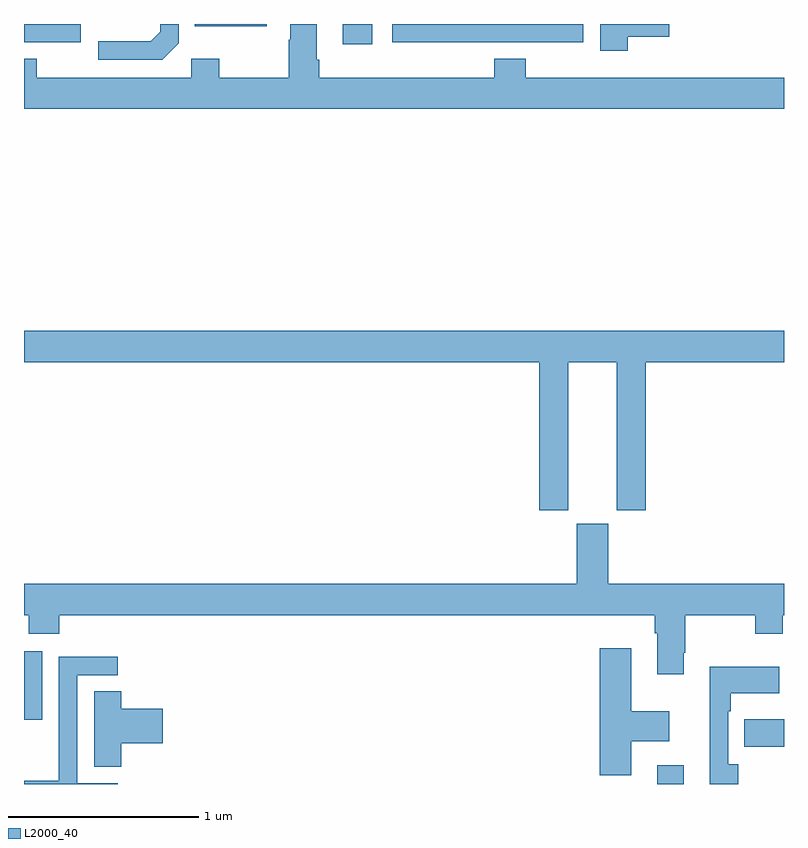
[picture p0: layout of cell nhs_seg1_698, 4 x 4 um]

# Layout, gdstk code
import gdstk
lib = gdstk.Library(unit=1e-6, precision=1e-09)
def R(c, l, rs):  # rectangles x0, y0, x1, y1
    for r in rs: c.add(gdstk.rectangle(r[:2], r[2:], *l))
def P(c, l, *ps):  # polygons
    for p in ps: c.add(gdstk.Polygon(p, *l))
L2000_40 = (2000, 40)

nhs_seg1_698 = lib.new_cell('nhs_seg1_698')
R(nhs_seg1_698, L2000_40, [(152.333,528.199,152.473,528.298), (152.791,528.394,153,528.541), (149,528.537,149.095,528.898), (150.677,532.092,150.832,532.199), (149,532.104,149.298,532.199), (149.899,532.187,150.277,532.199)])
P(nhs_seg1_698, L2000_40, [(153,531.916),(151.64,531.916),(151.64,532.015),(151.475,532.015),(151.475,531.916),(150.554,531.916),(150.554,532.012),(150.541,532.012),(150.541,532.199),(150.401,532.199),(150.401,532.115),(150.394,532.115),(150.394,531.916),(150.027,531.916),(150.027,532.015),(149.88,532.015),(149.88,531.916),(149.067,531.916),(149.067,532.015),(149,532.015),(149,531.752),(153,531.752)],
  [(151.357,532.104),(151.723,532.104),(151.723,532.103),(151.944,532.103),(151.944,532.199),(150.939,532.199),(150.939,532.103),(151.357,532.103)],
  [(149.814,532.098),(149.814,532.199),(149.718,532.199),(149.718,532.158),(149.667,532.107),(149.391,532.107),(149.391,532.011),(149.727,532.011)],
  [(152.177,532.133),(152.395,532.133),(152.395,532.199),(152.033,532.199),(152.033,532.059),(152.177,532.059)],
  [(149,530.42),(151.712,530.42),(151.712,529.641),(151.864,529.641),(151.864,530.42),(152.12,530.42),(152.12,529.641),(152.273,529.641),(152.273,530.42),(153,530.42),(153,530.584),(149,530.584)],
  [(152.473,528.889),(152.481,528.889),(152.481,529.088),(152.848,529.088),(152.848,528.989),(152.994,528.989),(152.994,529.088),(153,529.088),(153,529.252),(152.074,529.252),(152.074,529.569),(151.91,529.569),(151.91,529.252),(149,529.252),(149,529.088),(149.026,529.088),(149.026,528.989),(149.186,528.989),(149.186,529.088),(152.321,529.088),(152.321,528.992),(152.333,528.992),(152.333,528.777),(152.473,528.777)],
  [(152.197,528.425),(152.395,528.425),(152.395,528.583),(152.197,528.583),(152.197,528.913),(152.03,528.913),(152.03,528.246),(152.197,528.246)],
  [(149.494,528.204),(149.28,528.204),(149.28,528.771),(149.494,528.771),(149.494,528.87),(149.184,528.87),(149.184,528.44),(149.182,528.44),(149.182,528.217),(149,528.217),(149,528.199),(149.494,528.199)],
  [(152.758,528.302),(152.706,528.302),(152.706,528.581),(152.719,528.581),(152.719,528.677),(152.975,528.677),(152.975,528.817),(152.609,528.817),(152.609,528.199),(152.758,528.199)],
  [(149.513,528.413),(149.731,528.413),(149.731,528.596),(149.513,528.596),(149.513,528.686),(149.369,528.686),(149.369,528.289),(149.513,528.289)])

lib.write_gds('nhs_seg1_698.gds')
